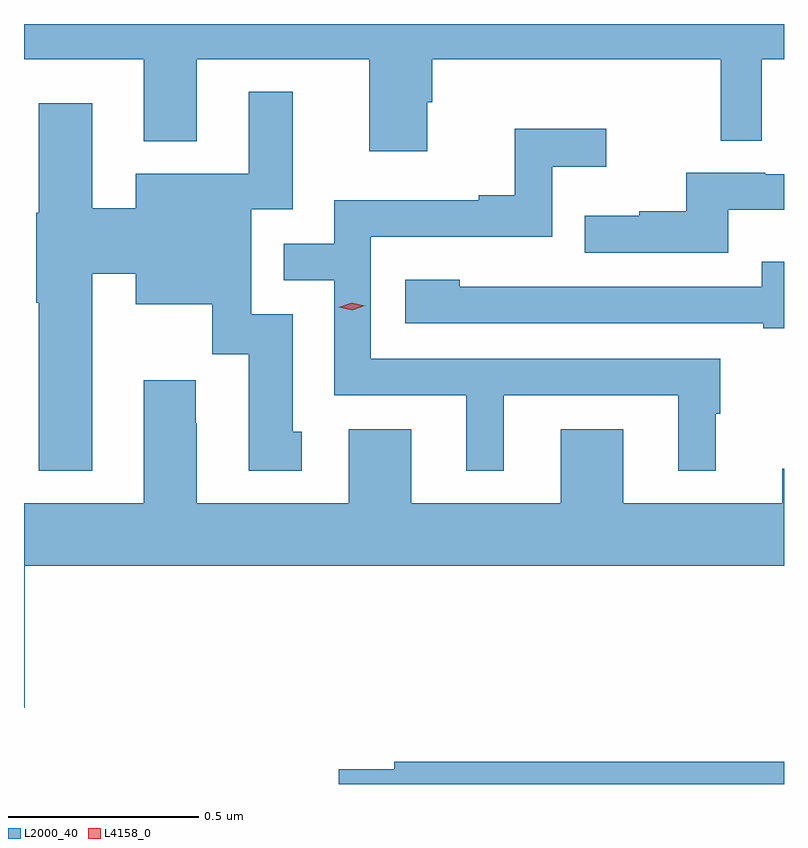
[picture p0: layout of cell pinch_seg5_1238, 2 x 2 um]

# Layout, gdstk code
import gdstk
lib = gdstk.Library(unit=1e-6, precision=1e-09)
def P(c, l, *ps):  # polygons
    for p in ps: c.add(gdstk.Polygon(p, *l))
L2000_40 = (2000, 40)
L4158_0 = (4158, 0)

pinch_seg5_1238 = lib.new_cell('pinch_seg5_1238')
P(pinch_seg5_1238, L2000_40, [(560.774,883.4),(561.089,883.4),(561.089,883.184),(561.229,883.184),(561.229,883.4),(561.683,883.4),(561.683,883.158),(561.835,883.158),(561.835,883.287),(561.848,883.287),(561.848,883.4),(562.608,883.4),(562.608,883.186),(562.716,883.186),(562.716,883.4),(562.774,883.4),(562.774,883.493),(560.774,883.493)],
  [(560.953,882.836),(561.068,882.836),(561.068,882.755),(561.269,882.755),(561.269,882.624),(561.365,882.624),(561.365,882.318),(561.505,882.318),(561.505,882.42),(561.481,882.42),(561.481,882.729),(561.372,882.729),(561.372,883.005),(561.481,883.005),(561.481,883.315),(561.365,883.315),(561.365,883.099),(561.068,883.099),(561.068,883.008),(560.953,883.008),(560.953,883.285),(560.813,883.285),(560.813,882.996),(560.806,882.996),(560.806,882.759),(560.813,882.759),(560.813,882.317),(560.953,882.317)],
  [(562.036,882.516),(562.496,882.516),(562.496,882.317),(562.594,882.317),(562.594,882.468),(562.606,882.468),(562.606,882.612),(561.687,882.612),(561.687,882.933),(562.164,882.933),(562.164,883.118),(562.306,883.118),(562.306,883.217),(562.066,883.217),(562.066,883.042),(561.971,883.042),(561.971,883.029),(561.591,883.029),(561.591,882.915),(561.458,882.915),(561.458,882.819),(561.591,882.819),(561.591,882.516),(561.938,882.516),(561.938,882.317),(562.036,882.317)],
  [(562.627,883.004),(562.774,883.004),(562.774,883.098),(562.724,883.098),(562.724,883.101),(562.517,883.101),(562.517,883),(562.393,883),(562.393,882.988),(562.249,882.988),(562.249,882.891),(562.627,882.891)],
  [(562.774,882.868),(562.715,882.868),(562.715,882.801),(562.157,882.801),(562.157,882.802),(561.921,882.802),(561.921,882.82),(561.777,882.82),(561.777,882.705),(562.719,882.705),(562.719,882.693),(562.774,882.693)],
  [(560.774,881.694),(560.776,881.694),(560.776,882.068),(562.774,882.068),(562.774,882.323),(562.769,882.323),(562.769,882.232),(562.351,882.232),(562.351,882.427),(562.187,882.427),(562.187,882.232),(561.793,882.232),(561.793,882.427),(561.629,882.427),(561.629,882.232),(561.229,882.232),(561.229,882.443),(561.226,882.443),(561.226,882.556),(561.089,882.556),(561.089,882.232),(560.774,882.232)],
  [(562.774,881.552),(561.748,881.552),(561.748,881.532),(561.602,881.532),(561.602,881.493),(562.774,881.493)])
P(pinch_seg5_1238, L4158_0, [(561.638,882.74),(561.602,882.747),(561.602,882.747),(561.602,882.747),(561.636,882.76),(561.671,882.752),(561.672,882.752),(561.671,882.752)])

lib.write_gds('pinch_seg5_1238.gds')
